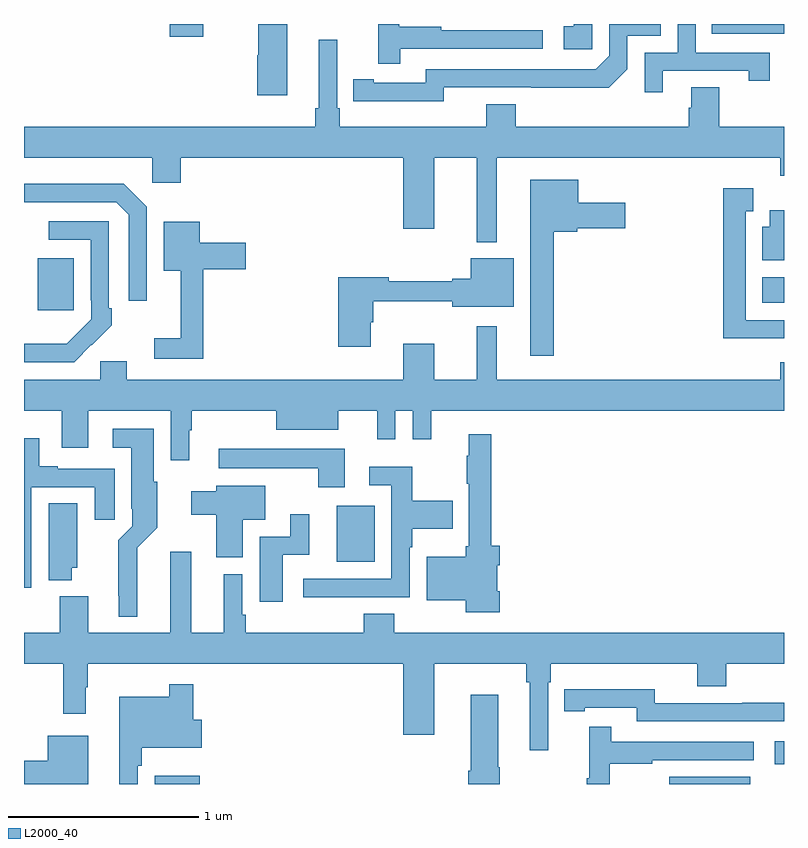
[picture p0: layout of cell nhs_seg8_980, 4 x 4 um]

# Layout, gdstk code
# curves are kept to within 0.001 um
import gdstk
lib = gdstk.Library(unit=1e-6, precision=1e-09)
def R(c, l, rs):  # rectangles x0, y0, x1, y1
    for r in rs: c.add(gdstk.rectangle(r[:2], r[2:], *l))
def P(c, l, *ps):  # polygons
    for p in ps: c.add(gdstk.Polygon(p, *l))
L2000_40 = (2000, 40)

nhs_seg8_980 = lib.new_cell('nhs_seg8_980')
R(nhs_seg8_980, L2000_40, [(175.688,1083.9,175.924,1083.943), (178.395,1083.9,178.822,1083.937), (178.95,1084.005,179,1084.126), (176.645,1085.069,176.845,1085.365), (175.073,1086.393,175.261,1086.667), (178.886,1086.434,179,1086.568), (175.766,1087.833,175.944,1087.9), (178.621,1087.848,179,1087.9)])
P(nhs_seg8_980, L2000_40, [(176.386,1087.9),(176.233,1087.9),(176.233,1087.736),(176.228,1087.736),(176.228,1087.524),(176.386,1087.524)],
  [(177.21,1087.566),(178.078,1087.565),(178.176,1087.662),(178.176,1087.839),(178.35,1087.839),(178.35,1087.9),(178.08,1087.9),(178.08,1087.734),(178.008,1087.662),(177.114,1087.662),(177.114,1087.59),(176.842,1087.59),(176.842,1087.61),(176.734,1087.61),(176.734,1087.494),(177.21,1087.493)],
  [(177.99,1087.9),(177.893,1087.9),(177.893,1087.887),(177.84,1087.887),(177.84,1087.767),(177.99,1087.767)],
  [(176.981,1087.77),(177.73,1087.77),(177.73,1087.866),(177.197,1087.866),(177.197,1087.886),(176.974,1087.886),(176.974,1087.9),(176.864,1087.9),(176.864,1087.692),(176.981,1087.692)],
  [(178.363,1087.653),(178.814,1087.653),(178.814,1087.602),(178.925,1087.602),(178.925,1087.749),(178.536,1087.749),(178.536,1087.9),(178.44,1087.9),(178.44,1087.749),(178.266,1087.749),(178.266,1087.542),(178.363,1087.542)],
  [(177.487,1087.196),(178.979,1087.196),(178.979,1087.101),(179,1087.101),(179,1087.36),(178.659,1087.36),(178.659,1087.568),(178.511,1087.568),(178.511,1087.458),(178.499,1087.458),(178.499,1087.36),(177.587,1087.36),(177.587,1087.477),(177.434,1087.477),(177.434,1087.36),(176.663,1087.36),(176.663,1087.456),(176.649,1087.456),(176.649,1087.816),(176.552,1087.816),(176.552,1087.456),(176.533,1087.456),(176.533,1087.36),(175,1087.36),(175,1087.196),(175.674,1087.196),(175.674,1087.065),(175.826,1087.065),(175.826,1087.196),(176.996,1087.196),(176.996,1086.822),(177.16,1086.822),(177.16,1087.196),(177.383,1087.196),(177.383,1086.752),(177.487,1086.752)],
  [(177.787,1086.806),(177.912,1086.806),(177.912,1086.824),(178.165,1086.824),(178.165,1086.958),(177.916,1086.958),(177.916,1087.081),(177.665,1087.081),(177.665,1086.153),(177.787,1086.153)],
  [(175.647,1086.939),(175.526,1087.06),(175,1087.06),(175,1086.963),(175.485,1086.963),(175.551,1086.897),(175.551,1086.444),(175.647,1086.444)],
  [(178.92,1086.246),(179,1086.246),(179,1086.342),(178.798,1086.342),(178.798,1086.915),(178.837,1086.915),(178.837,1087.036),(178.68,1087.036),(178.68,1086.245),(178.92,1086.245)],
  [(179,1086.919),(178.925,1086.919),(178.925,1086.832),(178.886,1086.832),(178.886,1086.656),(179,1086.656)],
  [(175.355,1086.211),(175.356,1086.21),(175.461,1086.315),(175.461,1086.403),(175.446,1086.403),(175.446,1086.861),(175.131,1086.861),(175.131,1086.765),(175.35,1086.765),(175.35,1086.445),(175.353,1086.445),(175.353,1086.345),(175.225,1086.217),(175,1086.216),(175,1086.12),(175.264,1086.12)],
  [(175.943,1086.608),(176.167,1086.608),(176.167,1086.75),(175.924,1086.75),(175.924,1086.859),(175.736,1086.859),(175.736,1086.602),(175.826,1086.602),(175.826,1086.247),(175.686,1086.247),(175.686,1086.138),(175.943,1086.138)],
  [(176.824,1086.33),(176.837,1086.33),(176.837,1086.442),(177.254,1086.442),(177.254,1086.413),(177.577,1086.413),(177.577,1086.667),(177.35,1086.667),(177.35,1086.56),(177.254,1086.56),(177.254,1086.545),(176.92,1086.545),(176.92,1086.568),(176.654,1086.568),(176.654,1086.201),(176.824,1086.201)],
  [(175.87,1085.761),(175.882,1085.761),(175.882,1085.864),(176.327,1085.864),(176.327,1085.765),(176.653,1085.765),(176.653,1085.864),(176.858,1085.864),(176.858,1085.715),(176.955,1085.715),(176.955,1085.864),(177.045,1085.864),(177.045,1085.715),(177.143,1085.715),(177.143,1085.864),(179,1085.864),(179,1086.121),(178.979,1086.121),(178.979,1086.028),(177.487,1086.028),(177.487,1086.31),(177.383,1086.31),(177.383,1086.028),(177.16,1086.028),(177.16,1086.217),(176.996,1086.217),(176.996,1086.028),(175.54,1086.028),(175.54,1086.126),(175.401,1086.126),(175.401,1086.028),(175,1086.028),(175,1085.864),(175.199,1085.864),(175.199,1085.67),(175.339,1085.67),(175.339,1085.864),(175.773,1085.864),(175.773,1085.604),(175.87,1085.604)],
  [(175.597,1085.144),(175.702,1085.25),(175.702,1085.49),(175.684,1085.49),(175.684,1085.77),(175.467,1085.77),(175.467,1085.669),(175.565,1085.669),(175.565,1085.35),(175.569,1085.35),(175.569,1085.256),(175.495,1085.182),(175.495,1084.891),(175.499,1084.891),(175.499,1084.781),(175.597,1084.781)],
  [(177.503,1084.915),(177.49,1084.915),(177.49,1085.051),(177.503,1085.051),(177.503,1085.155),(177.458,1085.155),(177.458,1085.74),(177.341,1085.74),(177.341,1085.627),(177.33,1085.627),(177.33,1085.479),(177.342,1085.479),(177.342,1085.151),(177.325,1085.151),(177.325,1085.095),(177.119,1085.095),(177.119,1084.868),(177.325,1084.868),(177.325,1084.803),(177.503,1084.803)],
  [(175.039,1085.463),(175.373,1085.463),(175.373,1085.292),(175.477,1085.292),(175.477,1085.559),(175.177,1085.559),(175.177,1085.572),(175.081,1085.572),(175.081,1085.719),(175,1085.719),(175,1084.932),(175.039,1084.932)],
  [(176.689,1085.665),(176.025,1085.665),(176.025,1085.561),(176.549,1085.561),(176.549,1085.463),(176.689,1085.463)],
  [(176.705,1084.884),(177.03,1084.884),(177.03,1085.147),(177.043,1085.147),(177.043,1085.243),(177.257,1085.243),(177.257,1085.391),(177.043,1085.391),(177.043,1085.569),(176.817,1085.569),(176.817,1085.472),(176.934,1085.472),(176.934,1084.98),(176.469,1084.98),(176.469,1084.883),(176.705,1084.883)],
  [(176.152,1085.291),(176.269,1085.291),(176.269,1085.47),(176.012,1085.47),(176.012,1085.44),(175.881,1085.44),(175.881,1085.318),(176.012,1085.318),(176.012,1085.094),(176.152,1085.094)],
  [(175.252,1085.037),(175.279,1085.037),(175.279,1085.378),(175.13,1085.378),(175.13,1084.973),(175.252,1084.973)],
  [(176.362,1085.106),(176.5,1085.106),(176.5,1085.32),(176.402,1085.32),(176.402,1085.202),(176.24,1085.202),(176.24,1084.86),(176.362,1084.86)],
  [(176.949,1084.795),(176.789,1084.795),(176.789,1084.696),(176.168,1084.696),(176.168,1084.792),(176.148,1084.792),(176.148,1085.005),(176.051,1085.005),(176.051,1084.696),(175.879,1084.696),(175.879,1085.122),(175.769,1085.122),(175.769,1084.696),(175.339,1084.696),(175.339,1084.888),(175.187,1084.888),(175.187,1084.696),(175,1084.696),(175,1084.532),(175.207,1084.532),(175.207,1084.269),(175.324,1084.269),(175.324,1084.409),(175.336,1084.409),(175.336,1084.532),(176.996,1084.532),(176.996,1084.158),(177.16,1084.158),(177.16,1084.532),(177.643,1084.532),(177.643,1084.436),(177.662,1084.436),(177.662,1084.077),(177.759,1084.077),(177.759,1084.436),(177.773,1084.436),(177.773,1084.532),(178.544,1084.532),(178.544,1084.415),(178.697,1084.415),(178.697,1084.532),(179,1084.532),(179,1084.696),(176.949,1084.696)],
  [(175.599,1083.995),(175.619,1083.995),(175.619,1084.091),(175.936,1084.091),(175.936,1084.239),(175.892,1084.239),(175.892,1084.426),(175.764,1084.426),(175.764,1084.36),(175.502,1084.36),(175.502,1083.9),(175.599,1083.9)],
  [(179,1084.328),(178.78,1084.328),(178.78,1084.326),(178.32,1084.326),(178.32,1084.399),(177.952,1084.399),(177.952,1084.398),(177.844,1084.398),(177.844,1084.282),(177.952,1084.282),(177.952,1084.302),(178.224,1084.302),(178.224,1084.23),(179,1084.23)],
  [(177.504,1083.989),(177.496,1083.989),(177.496,1084.369),(177.35,1084.369),(177.35,1083.971),(177.338,1083.971),(177.338,1083.9),(177.504,1083.9)],
  [(178.084,1084.006),(178.307,1084.006),(178.307,1084.026),(178.84,1084.026),(178.84,1084.122),(178.091,1084.122),(178.091,1084.201),(177.974,1084.201),(177.974,1083.929),(177.963,1083.929),(177.963,1083.9),(178.084,1083.9)],
  [(175.339,1084.153),(175.124,1084.153),(175.124,1084.022),(175,1084.022),(175,1083.9),(175.339,1083.9)])

lib.write_gds('nhs_seg8_980.gds')
